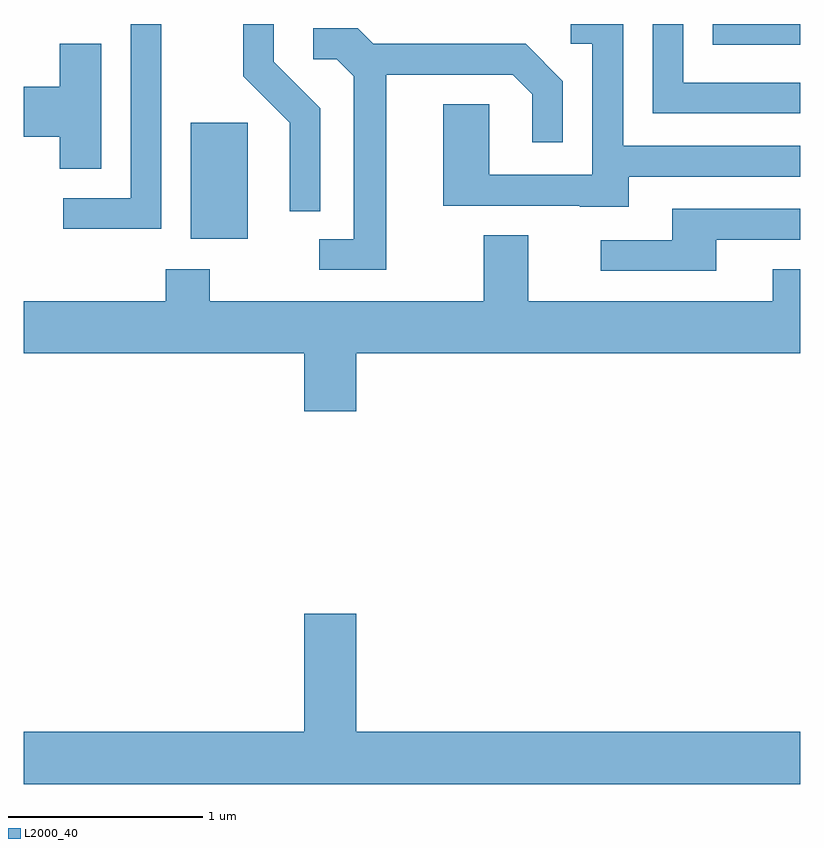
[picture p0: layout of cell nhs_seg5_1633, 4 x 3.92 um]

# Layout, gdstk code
import gdstk
lib = gdstk.Library(unit=1e-6, precision=1e-09)
def R(c, l, rs):  # rectangles x0, y0, x1, y1
    for r in rs: c.add(gdstk.rectangle(r[:2], r[2:], *l))
def P(c, l, *ps):  # polygons
    for p in ps: c.add(gdstk.Polygon(p, *l))
L2000_40 = (2000, 40)

nhs_seg5_1633 = lib.new_cell('nhs_seg5_1633')
R(nhs_seg5_1633, L2000_40, [(234.471,1432.966,234.764,1433.564), (237.161,1433.966,237.611,1434.072)])
P(nhs_seg5_1633, L2000_40, [(234.319,1434.072),(234.161,1434.072),(234.161,1433.174),(233.813,1433.174),(233.813,1433.016),(234.319,1433.016)],
  [(235.139,1433.637),(234.899,1433.877),(234.899,1434.072),(234.741,1434.072),(234.741,1433.804),(234.981,1433.564),(234.981,1433.108),(235.139,1433.108)],
  [(237.611,1433.769),(237.009,1433.769),(237.009,1434.072),(236.851,1434.072),(236.851,1433.611),(237.611,1433.611)],
  [(236.729,1433.286),(237.611,1433.286),(237.611,1433.444),(236.699,1433.444),(236.699,1434.072),(236.428,1434.072),(236.428,1433.971),(236.541,1433.971),(236.541,1433.294),(236.009,1433.294),(236.009,1433.659),(235.771,1433.659),(235.771,1433.136),(236.475,1433.136),(236.475,1433.131),(236.729,1433.131)],
  [(235.479,1433.811),(236.129,1433.811),(236.231,1433.709),(236.231,1433.463),(236.389,1433.463),(236.389,1433.777),(236.197,1433.969),(235.412,1433.969),(235.332,1434.049),(235.103,1434.049),(235.103,1433.891),(235.224,1433.891),(235.311,1433.804),(235.311,1432.964),(235.133,1432.964),(235.133,1432.806),(235.479,1432.806)],
  [(234.009,1433.969),(233.796,1433.969),(233.796,1433.749),(233.611,1433.749),(233.611,1433.491),(233.796,1433.491),(233.796,1433.326),(234.009,1433.326)],
  [(237.179,1432.961),(237.611,1432.961),(237.611,1433.119),(236.951,1433.119),(236.951,1432.959),(236.583,1432.959),(236.583,1432.801),(237.179,1432.801)],
  [(235.324,1432.376),(237.611,1432.376),(237.611,1432.809),(237.471,1432.809),(237.471,1432.644),(236.209,1432.644),(236.209,1432.984),(235.981,1432.984),(235.981,1432.644),(234.569,1432.644),(234.569,1432.809),(234.341,1432.809),(234.341,1432.644),(233.611,1432.644),(233.611,1432.376),(235.056,1432.376),(235.056,1432.076),(235.324,1432.076)],
  [(237.611,1430.424),(235.324,1430.424),(235.324,1431.034),(235.056,1431.034),(235.056,1430.424),(233.611,1430.424),(233.611,1430.156),(237.611,1430.156)])

lib.write_gds('nhs_seg5_1633.gds')
